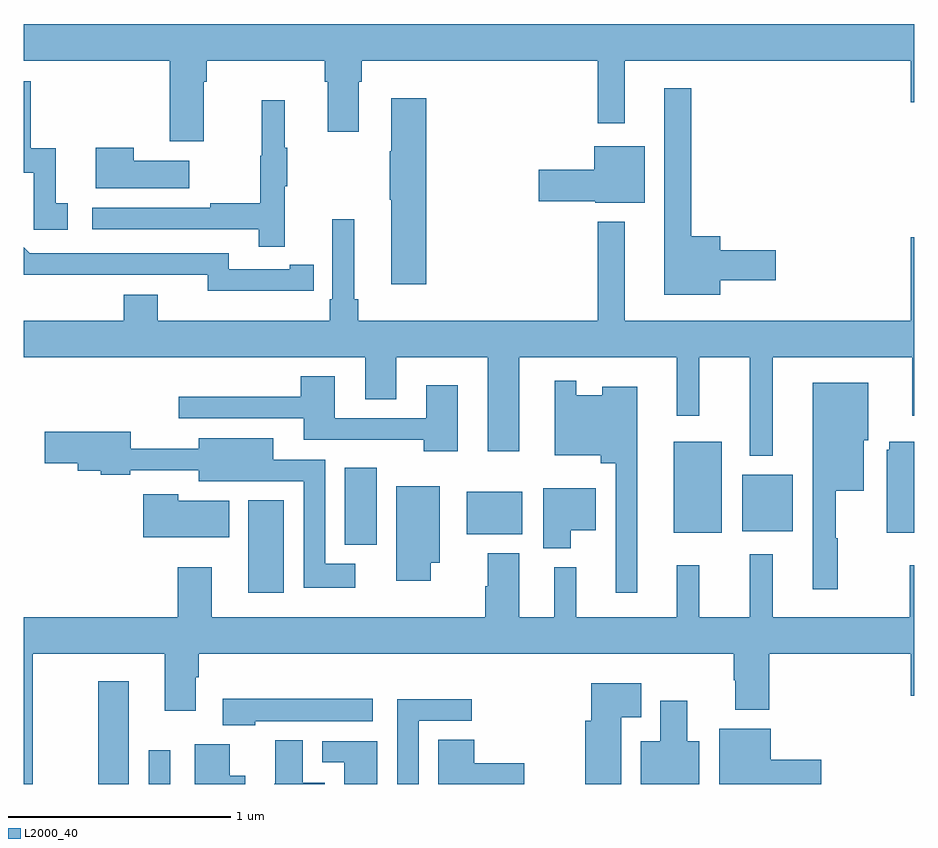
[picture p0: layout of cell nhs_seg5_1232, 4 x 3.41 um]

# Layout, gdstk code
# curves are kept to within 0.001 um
import gdstk
lib = gdstk.Library(unit=1e-6, precision=1e-09)
def R(c, l, rs):  # rectangles x0, y0, x1, y1
    for r in rs: c.add(gdstk.rectangle(r[:2], r[2:], *l))
def P(c, l, *ps):  # polygons
    for p in ps: c.add(gdstk.Polygon(p, *l))
L2000_40 = (2000, 40)

nhs_seg5_1232 = lib.new_cell('nhs_seg5_1232')
R(nhs_seg5_1232, L2000_40, [(185.335,898.799,185.473,899.26), (185.562,898.799,185.658,898.951), (186.008,899.658,186.169,900.073), (186.443,899.873,186.586,900.22), (186.989,899.921,187.24,900.112), (187.919,899.927,188.134,900.337), (188.228,899.933,188.455,900.187)])
P(nhs_seg5_1232, L2000_40, [(185.809,901.952),(185.822,901.952),(185.822,902.048),(186.353,902.048),(186.353,901.952),(186.365,901.952),(186.365,901.728),(186.505,901.728),(186.505,901.952),(186.518,901.952),(186.518,902.048),(187.578,902.048),(187.578,901.767),(187.699,901.767),(187.699,902.048),(188.984,902.048),(188.984,901.86),(189,901.86),(189,902.212),(185,902.212),(185,902.048),(185.657,902.048),(185.657,901.686),(185.809,901.686)],
  [(185.197,901.407),(185.144,901.407),(185.144,901.654),(185.033,901.654),(185.033,901.956),(185,901.956),(185,901.545),(185.046,901.545),(185.046,901.287),(185.197,901.287)],
  [(188.128,901.061),(188.377,901.061),(188.377,901.196),(188.128,901.196),(188.128,901.258),(187.999,901.258),(187.999,901.924),(187.877,901.924),(187.877,900.995),(188.128,900.995)],
  [(186.809,901.879),(186.65,901.879),(186.65,901.64),(186.643,901.64),(186.643,901.423),(186.65,901.423),(186.65,901.044),(186.809,901.044)],
  [(186.173,901.483),(186.184,901.483),(186.184,901.657),(186.173,901.657),(186.173,901.87),(186.07,901.87),(186.07,901.62),(186.063,901.62),(186.063,901.406),(185.839,901.406),(185.839,901.386),(185.307,901.386),(185.307,901.29),(186.055,901.29),(186.055,901.212),(186.173,901.212)],
  [(187.789,901.663),(187.562,901.663),(187.562,901.557),(187.314,901.557),(187.314,901.415),(187.566,901.415),(187.566,901.409),(187.789,901.409)],
  [(185.743,901.597),(185.495,901.597),(185.495,901.657),(185.324,901.657),(185.324,901.475),(185.743,901.475)],
  [(186.503,900.976),(186.484,900.976),(186.484,901.336),(186.387,901.336),(186.387,900.976),(186.374,900.976),(186.374,900.88),(185.602,900.88),(185.602,900.997),(185.45,900.997),(185.45,900.88),(185,900.88),(185,900.716),(186.533,900.716),(186.533,900.526),(186.673,900.526),(186.673,900.716),(187.085,900.716),(187.085,900.294),(187.225,900.294),(187.225,900.716),(187.934,900.716),(187.934,900.453),(188.034,900.453),(188.034,900.716),(188.261,900.716),(188.261,900.272),(188.365,900.272),(188.365,900.716),(188.99,900.716),(188.99,900.453),(189,900.453),(189,901.255),(188.984,901.255),(188.984,900.88),(187.699,900.88),(187.699,901.324),(187.578,901.324),(187.578,900.88),(186.503,900.88)],
  [(186.194,901.014),(186.302,901.014),(186.302,901.13),(186.194,901.13),(186.194,901.11),(185.922,901.11),(185.922,901.182),(185.028,901.182),(185,901.21),(185,901.085),(185.826,901.086),(185.826,901.013)],
  [(186.949,900.589),(186.809,900.589),(186.809,900.441),(186.397,900.441),(186.397,900.631),(186.245,900.631),(186.245,900.538),(185.697,900.538),(185.697,900.441),(186.257,900.441),(186.257,900.345),(186.797,900.345),(186.797,900.294),(186.949,900.294)],
  [(187.756,900.583),(187.598,900.583),(187.598,900.544),(187.482,900.544),(187.482,900.61),(187.386,900.61),(187.386,900.275),(187.591,900.275),(187.591,900.239),(187.659,900.239),(187.659,899.658),(187.756,899.658)],
  [(188.657,899.903),(188.647,899.903),(188.647,900.116),(188.773,900.116),(188.773,900.342),(188.794,900.342),(188.794,900.601),(188.543,900.601),(188.543,899.673),(188.657,899.673)],
  [(186.49,899.788),(186.354,899.788),(186.354,900.255),(186.121,900.255),(186.121,900.352),(185.786,900.352),(185.786,900.304),(185.482,900.304),(185.482,900.381),(185.094,900.381),(185.094,900.239),(185.243,900.239),(185.243,900.206),(185.347,900.206),(185.347,900.187),(185.478,900.187),(185.478,900.207),(185.786,900.207),(185.786,900.158),(186.012,900.158),(186.012,900.159),(186.258,900.159),(186.258,899.681),(186.49,899.681)],
  [(189,900.337),(188.888,900.337),(188.888,900.3),(188.876,900.3),(188.876,899.927),(189,899.927)],
  [(186.829,899.792),(186.868,899.792),(186.868,900.136),(186.674,900.136),(186.674,899.712),(186.829,899.712)],
  [(187.456,899.939),(187.57,899.939),(187.57,900.127),(187.334,900.127),(187.334,899.858),(187.456,899.858)],
  [(185.923,900.07),(185.694,900.07),(185.694,900.1),(185.537,900.1),(185.537,899.906),(185.923,899.906)],
  [(185.041,899.384),(185.633,899.384),(185.633,899.127),(185.773,899.127),(185.773,899.278),(185.786,899.278),(185.786,899.384),(188.188,899.384),(188.188,899.264),(188.195,899.264),(188.195,899.132),(188.348,899.132),(188.348,899.384),(188.984,899.384),(188.984,899.196),(189,899.196),(189,899.782),(188.979,899.782),(188.979,899.548),(188.365,899.548),(188.365,899.83),(188.261,899.83),(188.261,899.548),(188.034,899.548),(188.034,899.782),(187.934,899.782),(187.934,899.548),(187.481,899.548),(187.481,899.773),(187.382,899.773),(187.382,899.548),(187.225,899.548),(187.225,899.836),(187.085,899.836),(187.085,899.687),(187.073,899.687),(187.073,899.548),(185.845,899.548),(185.845,899.773),(185.693,899.773),(185.693,899.548),(185,899.548),(185,898.799),(185.041,898.799)],
  [(187.684,899.099),(187.774,899.099),(187.774,899.251),(187.55,899.251),(187.55,899.083),(187.523,899.083),(187.523,898.799),(187.684,898.799)],
  [(186.039,899.081),(186.568,899.081),(186.568,899.182),(185.895,899.182),(185.895,899.063),(186.039,899.063)],
  [(186.774,899.082),(187.012,899.082),(187.012,899.18),(186.678,899.18),(186.678,898.799),(186.774,898.799)],
  [(188.035,898.99),(187.981,898.99),(187.981,899.173),(187.859,899.173),(187.859,898.99),(187.772,898.99),(187.772,898.799),(188.035,898.799)],
  [(188.581,898.908),(188.356,898.908),(188.356,899.047),(188.123,899.047),(188.123,898.799),(188.581,898.799)],
  [(187.249,898.892),(187.024,898.892),(187.024,898.997),(186.863,898.997),(186.863,898.799),(187.249,898.799)],
  [(186.352,898.804),(186.253,898.804),(186.253,898.996),(186.131,898.996),(186.131,898.8),(186.125,898.8),(186.125,898.799),(186.352,898.799)],
  [(186.589,898.992),(186.342,898.992),(186.342,898.896),(186.44,898.896),(186.44,898.799),(186.589,898.799)],
  [(185.995,898.837),(185.926,898.837),(185.926,898.978),(185.768,898.978),(185.768,898.799),(185.995,898.799)])

lib.write_gds('nhs_seg5_1232.gds')
